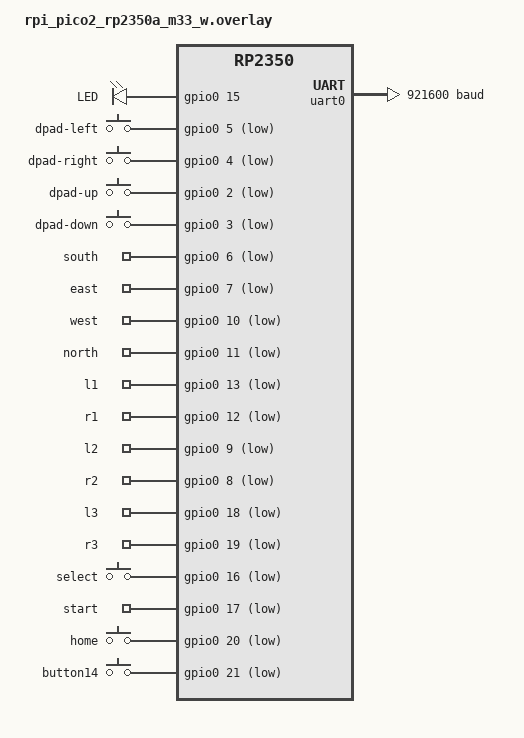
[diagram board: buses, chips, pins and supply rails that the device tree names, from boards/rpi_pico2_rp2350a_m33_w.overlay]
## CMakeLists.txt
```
cmake_minimum_required(VERSION 3.20.0)

set(EXTRA_DTC_OVERLAY_FILE
    ${CMAKE_CURRENT_SOURCE_DIR}/hid_dev.overlay
)

find_package(Zephyr REQUIRED HINTS $ENV{ZEPHYR_BASE})
project(ps5_remote_play_controller)

target_compile_definitions(app PRIVATE
    CHIAKI_LIB_ENABLE_MBEDTLS
    __ZEPHYR__
)

target_include_directories(app PRIVATE
    src
    ${CMAKE_CURRENT_SOURCE_DIR}/../chiaki-ng/lib/include
    ${CMAKE_CURRENT_SOURCE_DIR}/../chiaki-ng/lib/src
)

target_sources(app PRIVATE
    src/main.c
    src/wifi_manager.c
    src/settings.c
    src/registration.c
    src/session.c
    src/status.c
    src/led_status.c
    src/buttons.c
    src/chiaki_log.c

    ${CMAKE_CURRENT_SOURCE_DIR}/../chiaki-ng/lib/src/regist.c
    ${CMAKE_CURRENT_SOURCE_DIR}/../chiaki-ng/lib/src/rpcrypt.c
    ${CMAKE_CURRENT_SOURCE_DIR}/../chiaki-ng/lib/src/http.c
    ${CMAKE_CURRENT_SOURCE_DIR}/../chiaki-ng/lib/src/base64.c
    ${CMAKE_CURRENT_SOURCE_DIR}/../chiaki-ng/lib/src/common.c
    ${CMAKE_CURRENT_SOURCE_DIR}/../chiaki-ng/lib/src/log.c
    ${CMAKE_CURRENT_SOURCE_DIR}/../chiaki-ng/lib/src/random.c
    ${CMAKE_CURRENT_SOURCE_DIR}/../chiaki-ng/lib/src/stoppipe.c
    ${CMAKE_CURRENT_SOURCE_DIR}/../chiaki-ng/lib/src/sock.c
    ${CMAKE_CURRENT_SOURCE_DIR}/../chiaki-ng/lib/src/time.c
    ${CMAKE_CURRENT_SOURCE_DIR}/../chiaki-ng/lib/src/thread.c
    ${CMAKE_CURRENT_SOURCE_DIR}/../chiaki-ng/lib/src/remote/rudp.c
    ${CMAKE_CURRENT_SOURCE_DIR}/../chiaki-ng/lib/src/remote/rudpsendbuffer.c
    ${CMAKE_CURRENT_SOURCE_DIR}/../chiaki-ng/lib/src/session.c
    ${CMAKE_CURRENT_SOURCE_DIR}/../chiaki-ng/lib/src/ecdh.c
    ${CMAKE_CURRENT_SOURCE_DIR}/../chiaki-ng/lib/src/gkcrypt.c
    ${CMAKE_CURRENT_SOURCE_DIR}/../chiaki-ng/lib/src/ctrl.c
    ${CMAKE_CURRENT_SOURCE_DIR}/../chiaki-ng/lib/src/takion.c
    ${CMAKE_CURRENT_SOURCE_DIR}/../chiaki-ng/lib/src/takionsendbuffer.c
    ${CMAKE_CURRENT_SOURCE_DIR}/../chiaki-ng/lib/src/streamconnection.c
    ${CMAKE_CURRENT_SOURCE_DIR}/../chiaki-ng/lib/src/controller.c
    ${CMAKE_CURRENT_SOURCE_DIR}/../chiaki-ng/lib/src/senkusha.c
    ${CMAKE_CURRENT_SOURCE_DIR}/../chiaki-ng/lib/src/congestioncontrol.c
    ${CMAKE_CURRENT_SOURCE_DIR}/../chiaki-ng/lib/src/reorderqueue.c
    ${CMAKE_CURRENT_SOURCE_DIR}/../chiaki-ng/lib/src/launchspec.c
    ${CMAKE_CURRENT_SOURCE_DIR}/../chiaki-ng/lib/src/packetstats.c
    ${CMAKE_CURRENT_SOURCE_DIR}/../chiaki-ng/lib/src/feedbacksender.c
    ${CMAKE_CURRENT_SOURCE_DIR}/../chiaki-ng/lib/src/audio.c
    ${CMAKE_CURRENT_SOURCE_DIR}/../chiaki-ng/lib/src/audioreceiver.c
    ${CMAKE_CURRENT_SOURCE_DIR}/../chiaki-ng/lib/src/audiosender.c
    ${CMAKE_CURRENT_SOURCE_DIR}/../chiaki-ng/lib/src/bitstream.c
    ${CMAKE_CURRENT_SOURCE_DIR}/../chiaki-ng/lib/src/feedback.c
    ${CMAKE_CURRENT_SOURCE_DIR}/../chiaki-ng/lib/src/orientation.c
    ${CMAKE_CURRENT_SOURCE_DIR}/../chiaki-ng/lib/src/videoreceiver.c
    ${CMAKE_CURRENT_SOURCE_DIR}/../chiaki-ng/lib/src/frameprocessor.c
)

zephyr_ld_options(-Wl,--allow-multiple-definition)

include(${ZEPHYR_BASE}/modules/nanopb/nanopb.cmake)
zephyr_nanopb_sources(app ${CMAKE_CURRENT_SOURCE_DIR}/../chiaki-ng/lib/protobuf/takion.proto)
```

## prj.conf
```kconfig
# Network & Wi-Fi configuration
CONFIG_NETWORKING=y
CONFIG_NET_IPV4=y
CONFIG_NET_DHCPV4=y
CONFIG_NET_MGMT_EVENT_INFO=y
CONFIG_NET_TCP=y
CONFIG_NET_UDP=y
CONFIG_NET_SOCKETS=y
CONFIG_NET_SOCKETPAIR=y
CONFIG_POSIX_API=y
CONFIG_NET_MAX_CONN=10
CONFIG_NET_MAX_CONTEXTS=10

CONFIG_WIFI=y

# Zephyr Settings & NVS Flash Storage subsystem
CONFIG_FLASH=y
CONFIG_FLASH_MAP=y
CONFIG_NVS=y
CONFIG_SETTINGS=y
CONFIG_SETTINGS_NVS=y

# System resources & stack sizes
CONFIG_MAIN_STACK_SIZE=16384
CONFIG_NET_RX_STACK_SIZE=8192
CONFIG_NET_TX_STACK_SIZE=8192
CONFIG_SYSTEM_WORKQUEUE_STACK_SIZE=8192
CONFIG_HEAP_MEM_POOL_SIZE=143360
CONFIG_USBD_THREAD_STACK_SIZE=2048

# Dynamic Thread & POSIX Stack Configuration
CONFIG_DYNAMIC_THREAD_STACK_SIZE=12288
CONFIG_THREAD_STACK_INFO=y
CONFIG_STACK_SENTINEL=y
CONFIG_THREAD_NAME=y
CONFIG_DYNAMIC_THREAD=y
CONFIG_DYNAMIC_THREAD_ALLOC=y
CONFIG_POSIX_THREAD_THREADS_MAX=16
CONFIG_MAX_PTHREAD_MUTEX_COUNT=64
CONFIG_MAX_PTHREAD_COND_COUNT=64

# MbedTLS
CONFIG_MBEDTLS=y
CONFIG_MBEDTLS_BUILTIN=y
CONFIG_MBEDTLS_PSA_CRYPTO_C=y

# PSA Crypto Algorithms & Key Types
CONFIG_PSA_CRYPTO=y
CONFIG_PSA_WANT_ALG_HMAC=y
CONFIG_PSA_WANT_ALG_SHA_256=y
CONFIG_PSA_WANT_ALG_CTR=y
CONFIG_PSA_WANT_ALG_CFB=y
CONFIG_PSA_WANT_ALG_ECB_NO_PADDING=y
CONFIG_PSA_WANT_ALG_CBC_NO_PADDING=y
CONFIG_PSA_WANT_ALG_GCM=y
CONFIG_PSA_WANT_ALG_ECDH=y
CONFIG_PSA_WANT_KEY_TYPE_AES=y
CONFIG_PSA_WANT_KEY_TYPE_ECC_KEY_PAIR_GENERATE=y
CONFIG_PSA_WANT_ECC_SECP_K1_256=y

# Logging
CONFIG_SERIAL=n
CONFIG_UART_CONSOLE=n
CONFIG_LOG=n
CONFIG_NET_LOG=y

CONFIG_NANOPB=y
CONFIG_BASE64=y

CONFIG_USB_DEVICE_STACK_NEXT=y
CONFIG_USBD_HID_SUPPORT=y

CONFIG_CRC=y
```

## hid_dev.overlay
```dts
/ {
    hid_dev_0: hid_dev_0 {
        compatible = "zephyr,hid-device";
        in-report-size = <64>;
        out-report-size = <64>;
        in-polling-period-us = <1000>;
        out-polling-period-us = <1000>;
    };
};
```

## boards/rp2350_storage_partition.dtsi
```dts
/ {
    chosen {
        zephyr,code-partition = &code_partition;
    };
};

&flash0 {
    partitions {
        compatible = "fixed-partitions";
        #address-cells = <0x1>;
        #size-cells = <0x1>;

        code_partition: partition@0 {
            label = "code";
            reg = <0x0 (DT_SIZE_M(1) - DT_SIZE_K(32) - 4096)>;
            read-only;
        };

        storage_partition: partition@f7000 {
            label = "storage";
            reg = <(DT_SIZE_M(1) - DT_SIZE_K(32) - 4096) DT_SIZE_K(32)>;
        };
    };
};
```

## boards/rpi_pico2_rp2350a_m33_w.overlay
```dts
#include "rp2350_storage_partition.dtsi"

&uart0 {
    current-speed = <921600>;
};

/ {
    leds {
        compatible = "gpio-leds";

        led0: led_0 {
            gpios = <&gpio0 15 GPIO_ACTIVE_HIGH>;
            label = "LED";
        };
    };

    aliases {
        led0 = &led0;
    };

    gamepad-buttons {
        compatible = "gpio-keys";
        dpad-left { gpios = <&gpio0 5 (GPIO_PULL_UP | GPIO_ACTIVE_LOW)>; };
        dpad-right { gpios = <&gpio0 4 (GPIO_PULL_UP | GPIO_ACTIVE_LOW)>; };
        dpad-up { gpios = <&gpio0 2 (GPIO_PULL_UP | GPIO_ACTIVE_LOW)>; };
        dpad-down { gpios = <&gpio0 3 (GPIO_PULL_UP | GPIO_ACTIVE_LOW)>; };
        south { gpios = <&gpio0 6 (GPIO_PULL_UP | GPIO_ACTIVE_LOW)>; };
        east { gpios = <&gpio0 7 (GPIO_PULL_UP | GPIO_ACTIVE_LOW)>; };
        west { gpios = <&gpio0 10 (GPIO_PULL_UP | GPIO_ACTIVE_LOW)>; };
        north { gpios = <&gpio0 11 (GPIO_PULL_UP | GPIO_ACTIVE_LOW)>; };
        l1 { gpios = <&gpio0 13 (GPIO_PULL_UP | GPIO_ACTIVE_LOW)>; };
        r1 { gpios = <&gpio0 12 (GPIO_PULL_UP | GPIO_ACTIVE_LOW)>; };
        l2 { gpios = <&gpio0 9 (GPIO_PULL_UP | GPIO_ACTIVE_LOW)>; };
        r2 { gpios = <&gpio0 8 (GPIO_PULL_UP | GPIO_ACTIVE_LOW)>; };
        l3 { gpios = <&gpio0 18 (GPIO_PULL_UP | GPIO_ACTIVE_LOW)>; };
        r3 { gpios = <&gpio0 19 (GPIO_PULL_UP | GPIO_ACTIVE_LOW)>; };
        select { gpios = <&gpio0 16 (GPIO_PULL_UP | GPIO_ACTIVE_LOW)>; };
        start { gpios = <&gpio0 17 (GPIO_PULL_UP | GPIO_ACTIVE_LOW)>; };
        home { gpios = <&gpio0 20 (GPIO_PULL_UP | GPIO_ACTIVE_LOW)>; };
        button14 { gpios = <&gpio0 21 (GPIO_PULL_UP | GPIO_ACTIVE_LOW)>; };
    };
};
```

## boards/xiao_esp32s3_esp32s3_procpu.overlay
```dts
/ {
    chosen {
        zephyr,console = &uart0;
        zephyr,shell-uart = &uart0;
    };
};

zephyr_udc0: &usb_otg {
    status = "okay";
};

&usb_serial {
    status = "disabled";
};

&uart0 {
    current-speed = <921600>;
};

/ {
    gamepad-buttons {
        compatible = "gpio-keys";
        start { gpios = <&xiao_d 0 (GPIO_PULL_UP | GPIO_ACTIVE_LOW)>; };
        select { gpios = <&xiao_d 1 (GPIO_PULL_UP | GPIO_ACTIVE_LOW)>; };
        home { gpios = <&xiao_d 2 (GPIO_PULL_UP | GPIO_ACTIVE_LOW)>; };
        south { gpios = <&xiao_d 3 (GPIO_PULL_UP | GPIO_ACTIVE_LOW)>; };
        east { gpios = <&xiao_d 4 (GPIO_PULL_UP | GPIO_ACTIVE_LOW)>; };
        west { gpios = <&xiao_d 5 (GPIO_PULL_UP | GPIO_ACTIVE_LOW)>; };
        north { gpios = <&xiao_d 6 (GPIO_PULL_UP | GPIO_ACTIVE_LOW)>; };
        dpad-left { gpios = <&xiao_d 7 (GPIO_PULL_UP | GPIO_ACTIVE_LOW)>; };
        dpad-right { gpios = <&xiao_d 8 (GPIO_PULL_UP | GPIO_ACTIVE_LOW)>; };
        dpad-up { gpios = <&xiao_d 9 (GPIO_PULL_UP | GPIO_ACTIVE_LOW)>; };
        dpad-down { gpios = <&xiao_d 10 (GPIO_PULL_UP | GPIO_ACTIVE_LOW)>; };
    };
};
```

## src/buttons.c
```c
// Copyright (c) 2026 Jacek Fedorynski
// SPDX-License-Identifier: MIT

#include "buttons.h"

#include <zephyr/drivers/gpio.h>
#include <zephyr/logging/log.h>

LOG_MODULE_REGISTER(buttons, LOG_LEVEL_INF);

#define BUTTON_POLL_INTERVAL_MS 4

/* ---------------------------------------------------------------------------
 * Button GPIO setup, ported from portable-gamepad-firmware's main.c:
 *   - Every child of the "gamepad-buttons" devicetree node becomes one
 *     enum button_idx value and one struct gpio_dt_spec.
 *   - Buttons sharing a physical GPIO port are deduplicated so that port is
 *     only read once per poll (read_all_gpio_ports()) instead of once per
 *     pin; BUTTON_GET(name) then just pulls the bit for that pin out of the
 *     cached port-wide reading.
 *   - BUTTON_GET(name) compiles down to a constant `(0)` -- "never
 *     pressed" -- if "name" isn't a child of gamepad-buttons on the current
 *     board, so boards don't all need to define the same set of buttons.
 * -------------------------------------------------------------------------*/

#define BUTTON(name) UTIL_CAT(button_, name)

#define BUTTON_FOR_ID(node_id) BUTTON(DT_NODE_FULL_NAME_TOKEN(node_id))

enum button_idx {
    DT_FOREACH_CHILD_SEP(DT_PATH(gamepad_buttons), BUTTON_FOR_ID, (, )),
    NUM_BUTTONS
};

#define BUTTON_GPIO_DEF(node_id) GPIO_DT_SPEC_GET(node_id, gpios),

static struct gpio_dt_spec buttons[] = {
    DT_FOREACH_CHILD(DT_PATH(gamepad_buttons), BUTTON_GPIO_DEF)
};

static gpio_port_value_t* button_port_states[NUM_BUTTONS];

#define _COUNT_GPIO_CONTROLLER(node_id) IF_ENABLED(DT_NODE_HAS_PROP(node_id, gpio_controller), (+1))
#define NUM_GPIO_PORTS (0 DT_FOREACH_STATUS_OKAY_NODE(_COUNT_GPIO_CONTROLLER))

static const struct device* gpio_ports[NUM_GPIO_PORTS];
static gpio_port_value_t gpio_port_states[NUM_GPIO_PORTS];

static int s_active_gpio_ports = 0;

#define BUTTON_GET(name)                                                                                        \
    COND_CODE_1(DT_NODE_EXISTS(DT_PATH(gamepad_buttons, name)),                                                 \
        ((0 != (*button_port_states[BUTTON(name)] & BIT(DT_GPIO_PIN(DT_PATH(gamepad_buttons, name), gpios))))), \
        (0))

static void read_all_gpio_ports(void) {
    for (int i = 0; i < s_active_gpio_ports; i++) {
        gpio_port_get(gpio_ports[i], &gpio_port_states[i]);
    }
}

/* ---------------------------------------------------------------------------
 * Mapping onto ChiakiControllerState. south/east/west/north -> cross/moon
 * (circle)/box (square)/pyramid (triangle) matches chiaki-ng's own Xbox-
 * layout convention (a/b/x/y), e.g. controllermanager.cpp and
 * qmlbackend.cpp. l2/r2 are digital buttons here (no ADC), reported as
 * fully-pressed (255) or released (0) analog trigger state, same as other
 * digital-only controllers chiaki-ng talks to. button14 has no obvious PS5
 * equivalent, so it's mapped to the one otherwise-unused DualSense button,
 * the touchpad click.
 * -------------------------------------------------------------------------*/

static void buttons_apply(ChiakiControllerState* state) {
    read_all_gpio_ports();

    uint32_t b = 0;
    if (BUTTON_GET(south))
        b |= CHIAKI_CONTROLLER_BUTTON_CROSS;
    if (BUTTON_GET(east))
        b |= CHIAKI_CONTROLLER_BUTTON_MOON;
    if (BUTTON_GET(west))
        b |= CHIAKI_CONTROLLER_BUTTON_BOX;
    if (BUTTON_GET(north))
        b |= CHIAKI_CONTROLLER_BUTTON_PYRAMID;
    if (BUTTON_GET(dpad_left))
        b |= CHIAKI_CONTROLLER_BUTTON_DPAD_LEFT;
    if (BUTTON_GET(dpad_right))
        b |= CHIAKI_CONTROLLER_BUTTON_DPAD_RIGHT;
    if (BUTTON_GET(dpad_up))
        b |= CHIAKI_CONTROLLER_BUTTON_DPAD_UP;
    if (BUTTON_GET(dpad_down))
        b |= CHIAKI_CONTROLLER_BUTTON_DPAD_DOWN;
    if (BUTTON_GET(l1))
        b |= CHIAKI_CONTROLLER_BUTTON_L1;
    if (BUTTON_GET(r1))
        b |= CHIAKI_CONTROLLER_BUTTON_R1;
    if (BUTTON_GET(l3))
        b |= CHIAKI_CONTROLLER_BUTTON_L3;
    if (BUTTON_GET(r3))
        b |= CHIAKI_CONTROLLER_BUTTON_R3;
    if (BUTTON_GET(start))
        b |= CHIAKI_CONTROLLER_BUTTON_OPTIONS;
    if (BUTTON_GET(select))
        b |= CHIAKI_CONTROLLER_BUTTON_SHARE;
    if (BUTTON_GET(home))
        b |= CHIAKI_CONTROLLER_BUTTON_PS;
    if (BUTTON_GET(button14))
        b |= CHIAKI_CONTROLLER_BUTTON_TOUCHPAD;

    uint8_t l2 = BUTTON_GET(l2) ? 255 : 0;
    uint8_t r2 = BUTTON_GET(r2) ? 255 : 0;

    state->buttons = b;
    state->l2_state = l2;
    state->r2_state = r2;
}

/* ---------------------------------------------------------------------------
 * Polling thread
 * -------------------------------------------------------------------------*/

static ChiakiControllerState* s_state;
static struct k_sem* s_input_sem;

static void buttons_thread_fn(void* p1, void* p2, void* p3) {
    ARG_UNUSED(p1);
    ARG_UNUSED(p2);
    ARG_UNUSED(p3);

    while (1) {
        k_sleep(K_MSEC(BUTTON_POLL_INTERVAL_MS));

        if (s_state == NULL) {
            continue;
        }

        uint32_t prev_buttons = s_state->buttons;
        uint8_t prev_l2 = s_state->l2_state;
        uint8_t prev_r2 = s_state->r2_state;

        buttons_apply(s_state);

        if (s_state->buttons != prev_buttons ||
            s_state->l2_state != prev_l2 ||
            s_state->r2_state != prev_r2) {
            k_sem_give(s_input_sem);
        }
    }
}

K_THREAD_DEFINE(buttons_thread, 512, buttons_thread_fn, NULL, NULL, NULL, 7, 0, 0);

void buttons_init(ChiakiControllerState* state, struct k_sem* input_sem) {
    for (int i = 0; i < NUM_BUTTONS; i++) {
        if (!gpio_is_ready_dt(&buttons[i])) {
            LOG_ERR("Button %d GPIO not ready", i);
            continue;
        }

        int ret = gpio_pin_configure_dt(&buttons[i], GPIO_INPUT | GPIO_PULL_UP | GPIO_ACTIVE_LOW);
        if (ret != 0) {
            LOG_ERR("Failed to configure button %d: %d", i, ret);
        }

        int port_idx = -1;
        for (int j = 0; j < s_active_gpio_ports; j++) {
            if (gpio_ports[j] == buttons[i].port) {
                port_idx = j;
                break;
            }
        }

        if (port_idx == -1) {
            port_idx = s_active_gpio_ports;
            gpio_ports[port_idx] = buttons[i].port;
            s_active_gpio_ports++;
        }

        button_port_states[i] = &gpio_port_states[port_idx];
    }

    LOG_INF("%d button(s) across %d GPIO port(s)", NUM_BUTTONS, s_active_gpio_ports);

    s_state = state;
    s_input_sem = input_sem;
}
```

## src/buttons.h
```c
// Copyright (c) 2026 Jacek Fedorynski
// SPDX-License-Identifier: MIT

#ifndef BUTTONS_H
#define BUTTONS_H

#include <chiaki/controller.h>
#include <zephyr/kernel.h>

#ifdef __cplusplus
extern "C" {
#endif

/**
 * Configure all GPIOs declared under the "gamepad-buttons" devicetree node
 * and start polling them.
 *
 * Whenever the polled button state differs from *state, updates its
 * `buttons`/`l2_state`/`r2_state` fields and gives input_sem -- matching the
 * "written by GPIO code" / "given by GPIO code" contract documented next to
 * g_controller_state / g_input_sem in main.c.
 *
 * Any button name (south/east/west/north/dpad-left/dpad-right/dpad-up/
 * dpad-down/l1/r1/l2/r2/l3/r3/select/start/home/button14) that isn't
 * present under gamepad-buttons on a given board is simply always "not
 * pressed" -- boards don't all need to define the same set of buttons.
 */
void buttons_init(ChiakiControllerState* state, struct k_sem* input_sem);

#ifdef __cplusplus
}
#endif

#endif  // BUTTONS_H
```

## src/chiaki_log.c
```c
// Copyright (c) 2026 Jacek Fedorynski
// SPDX-License-Identifier: MIT

#include "chiaki_log.h"
#include "status.h"

#include <zephyr/logging/log.h>

#include <stdbool.h>
#include <stdint.h>

LOG_MODULE_REGISTER(chiaki, LOG_LEVEL_DBG);

void chiaki_log_zephyr_cb(ChiakiLogLevel level, const char* msg, void* user) {
    bool verbose_as_info = (bool) (intptr_t) user;
    switch (level) {
        case CHIAKI_LOG_ERROR:
            LOG_ERR("[Chiaki] %s", msg);
            /* Also visible on the config website regardless of whether
             * Zephyr logging is compiled in -- chiaki-ng's own internal
             * errors (e.g. "Ctrl init failed") otherwise only ever go
             * through LOG_ERR. */
            status_logf("[Chiaki] %s", msg);
            break;
        case CHIAKI_LOG_WARNING:
            LOG_WRN("[Chiaki] %s", msg);
            break;
        case CHIAKI_LOG_INFO:
            LOG_INF("[Chiaki] %s", msg);
            break;
        default:
            if (verbose_as_info) {
                LOG_INF("[Chiaki Verbose] %s", msg);
            } else {
                LOG_DBG("[Chiaki] %s", msg);
            }
            break;
    }
}
```

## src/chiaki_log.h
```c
// Copyright (c) 2026 Jacek Fedorynski
// SPDX-License-Identifier: MIT

#ifndef CHIAKI_LOG_ZEPHYR_H
#define CHIAKI_LOG_ZEPHYR_H

#include <chiaki/log.h>

#ifdef __cplusplus
extern "C" {
#endif

/**
 * ChiakiLog callback that routes ERROR/WARNING/INFO to the corresponding
 * Zephyr log level. CHIAKI_LOG_VERBOSE/CHIAKI_LOG_DEBUG go to LOG_INF
 * (tagged "[Chiaki Verbose]") if the ChiakiLog user cookie is (void*)true,
 * or LOG_DBG (tagged "[Chiaki]") if it's (void*)false -- pass whichever
 * suits the call site's verbosity needs to chiaki_log_init().
 */
void chiaki_log_zephyr_cb(ChiakiLogLevel level, const char* msg, void* user);

#ifdef __cplusplus
}
#endif

#endif  // CHIAKI_LOG_ZEPHYR_H
```

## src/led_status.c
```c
// Copyright (c) 2026 Jacek Fedorynski
// SPDX-License-Identifier: MIT

#include "led_status.h"

#include <zephyr/drivers/gpio.h>
#include <zephyr/kernel.h>
#include <zephyr/logging/log.h>

#include "session.h"
#include "wifi_manager.h"

LOG_MODULE_REGISTER(led_status, LOG_LEVEL_INF);

enum led_pattern {
    LED_PATTERN_NO_WIFI,
    LED_PATTERN_WIFI_ONLY,
    LED_PATTERN_PS5_CONNECTED,
};

struct blink_timing {
    uint32_t on_ms;
    uint32_t off_ms;
};

static const struct blink_timing k_patterns[] = {
    [LED_PATTERN_NO_WIFI] = { .on_ms = 100, .off_ms = 100 },
    [LED_PATTERN_WIFI_ONLY] = { .on_ms = 1800, .off_ms = 200 },
    [LED_PATTERN_PS5_CONNECTED] = { .on_ms = 100, .off_ms = 1900 },
};

static const struct gpio_dt_spec led = GPIO_DT_SPEC_GET(DT_ALIAS(led0), gpios);

static atomic_t s_pattern = ATOMIC_INIT(LED_PATTERN_NO_WIFI);

void led_status_refresh(void) {
    enum led_pattern pattern;

    if (!wifi_manager_is_connected()) {
        pattern = LED_PATTERN_NO_WIFI;
    } else if (!session_is_connected()) {
        pattern = LED_PATTERN_WIFI_ONLY;
    } else {
        pattern = LED_PATTERN_PS5_CONNECTED;
    }

    atomic_set(&s_pattern, pattern);
}

static void led_thread_fn(void* p1, void* p2, void* p3) {
    ARG_UNUSED(p1);
    ARG_UNUSED(p2);
    ARG_UNUSED(p3);

    for (int attempts = 0; !gpio_is_ready_dt(&led); attempts++) {
        if (attempts >= 10) {
            LOG_ERR("Status LED device never became ready");
            return;
        }
        k_sleep(K_MSEC(10));
    }

    if (gpio_pin_configure_dt(&led, GPIO_OUTPUT_INACTIVE) != 0) {
        LOG_ERR("Failed to configure status LED");
        return;
    }

    while (1) {
        const struct blink_timing* t = &k_patterns[atomic_get(&s_pattern)];

        gpio_pin_set_dt(&led, 1);
        k_sleep(K_MSEC(t->on_ms));
        gpio_pin_set_dt(&led, 0);
        k_sleep(K_MSEC(t->off_ms));
    }
}

K_THREAD_DEFINE(led_status_thread, 512, led_thread_fn, NULL, NULL, NULL, 7, 0, 0);
```

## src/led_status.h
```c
// Copyright (c) 2026 Jacek Fedorynski
// SPDX-License-Identifier: MIT

#ifndef LED_STATUS_H
#define LED_STATUS_H

#ifdef __cplusplus
extern "C" {
#endif

/**
 * Re-derive the "led0" blink pattern from current Wi-Fi / PS5 session state
 * and apply it:
 *   - not connected to Wi-Fi:              100ms on / 100ms off
 *   - connected to Wi-Fi, no PS5 session:  1800ms on / 200ms off
 *   - PS5 session active:                  100ms on / 1900ms off
 *
 * Cheap enough to call after every state-machine transition; a dedicated
 * thread does the actual blinking, so this just tells it what pattern to
 * use next.
 */
void led_status_refresh(void);

#ifdef __cplusplus
}
#endif

#endif  // LED_STATUS_H
```

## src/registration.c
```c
// Copyright (c) 2026 Jacek Fedorynski
// SPDX-License-Identifier: MIT

#include "registration.h"
#include "chiaki_log.h"
#include "settings.h"

#include <chiaki/common.h>
#include <chiaki/log.h>
#include <chiaki/regist.h>
#include <zephyr/kernel.h>
#include <zephyr/logging/log.h>

#include <stdint.h>
#include <stdlib.h>
#include <string.h>

LOG_MODULE_REGISTER(registration, LOG_LEVEL_DBG);

static K_SEM_DEFINE(s_regist_sem, 0, 1);
static ChiakiRegistEventType s_regist_event_type;
static ChiakiRegisteredHost s_registered_host;

static void regist_callback(ChiakiRegistEvent* event, void* user) {
    (void) user;
    s_regist_event_type = event->type;
    if (event->type == CHIAKI_REGIST_EVENT_TYPE_FINISHED_SUCCESS && event->registered_host) {
        memcpy(&s_registered_host, event->registered_host, sizeof(ChiakiRegisteredHost));
    }
    k_sem_give(&s_regist_sem);
}

int registration_run(uint32_t pin) {
    const AppConfig* cfg = settings_get_config();

    if (cfg->wifi_ssid[0] == '\0') {
        LOG_ERR("No Wi-Fi network configured! Please configure Wi-Fi via WebHID before linking.");
        return -EINVAL;
    }

    if (cfg->ps5_ip_str[0] == '\0') {
        LOG_ERR("No PS5 IP address configured! Please configure PS5 IP address via WebHID before linking.");
        return -EINVAL;
    }

    if (!settings_has_account_id()) {
        LOG_ERR("No PSN Account ID configured! Please configure PSN Account ID via WebHID before linking.");
        return -EINVAL;
    }

    if (pin == 0) {
        LOG_ERR("Invalid Registration PIN (0). Please enter a valid 8-digit PIN shown on PS5 screen.");
        return -EINVAL;
    }

    LOG_INF("=================================================");
    LOG_INF("Starting PS5 Registration Procedure");
    LOG_INF("Target Console IP : %s", cfg->ps5_ip_str);
    LOG_HEXDUMP_INF(cfg->account_id, sizeof(cfg->account_id), "PSN Account ID (8 raw bytes):");
    LOG_INF("Registration PIN  : %u", pin);
    LOG_INF("=================================================");

    uint8_t psn_account_id[CHIAKI_PSN_ACCOUNT_ID_SIZE];
    settings_get_account_id_reversed(psn_account_id);

    LOG_HEXDUMP_INF(psn_account_id, sizeof(psn_account_id), "Chiaki 8-Byte PSN Account ID:");

    ChiakiLog log;
    chiaki_log_init(&log, CHIAKI_LOG_ALL, chiaki_log_zephyr_cb, (void*) (intptr_t) true);

    ChiakiRegistInfo info;
    memset(&info, 0, sizeof(info));
    info.target = CHIAKI_TARGET_PS5_1;
    info.host = cfg->ps5_ip_str;
    info.broadcast = false;
    memcpy(info.psn_account_id, psn_account_id, sizeof(psn_account_id));
    info.pin = pin;

    ChiakiRegist regist;
    memset(&regist, 0, sizeof(regist));

    LOG_INF("Initiating Chiaki registration sequence...");
    ChiakiErrorCode err = chiaki_regist_start(&regist, &log, &info, regist_callback, NULL);
    if (err != CHIAKI_ERR_SUCCESS) {
        LOG_ERR("chiaki_regist_start failed with error: %s (%d)",
            chiaki_error_string(err), err);
        return -EIO;
    }

    LOG_INF("Waiting for registration process to complete...");
    k_sem_take(&s_regist_sem, K_FOREVER);

    chiaki_regist_fini(&regist);

    if (s_regist_event_type != CHIAKI_REGIST_EVENT_TYPE_FINISHED_SUCCESS) {
        LOG_ERR("PS5 Registration failed or was canceled! Result event type: %d", s_regist_event_type);
        return -EIO;
    }

    LOG_INF("-------------------------------------------------");
    LOG_INF("PS5 REGISTRATION SUCCESSFUL!");
    LOG_INF("Server Nickname: %s", s_registered_host.server_nickname);
    LOG_HEXDUMP_INF(s_registered_host.server_mac, sizeof(s_registered_host.server_mac), "PS5 MAC Address:");
    LOG_HEXDUMP_INF(s_registered_host.rp_regist_key, sizeof(s_registered_host.rp_regist_key), "Registration Key (rp_regist_key):");
    LOG_HEXDUMP_INF(s_registered_host.rp_key, sizeof(s_registered_host.rp_key), "RP Key:");
    LOG_INF("-------------------------------------------------");

    int save_err = settings_save_registration(&s_registered_host);
    if (save_err != 0) {
        LOG_ERR("Failed to persist registration key to settings flash storage!");
        return save_err;
    }

    LOG_INF("Registration key persisted to flash NVS successfully.");
    return 0;
}
```

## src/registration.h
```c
// Copyright (c) 2026 Jacek Fedorynski
// SPDX-License-Identifier: MIT

#ifndef REGISTRATION_H
#define REGISTRATION_H

#include <stdbool.h>
#include <stdint.h>

#ifdef __cplusplus
extern "C" {
#endif

/**
 * Execute the PS5 registration procedure over the local network using the provided PIN.
 *
 * @param pin 8-digit registration PIN shown on the PS5 screen
 * @return 0 on success, negative error code on failure.
 */
int registration_run(uint32_t pin);

#ifdef __cplusplus
}
#endif

#endif  // REGISTRATION_H
```

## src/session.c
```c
// Copyright (c) 2026 Jacek Fedorynski
// SPDX-License-Identifier: MIT

#include "session.h"
#include "chiaki_log.h"
#include "settings.h"
#include "status.h"

#include <chiaki/common.h>
#include <chiaki/log.h>
#include <chiaki/session.h>
#include <zephyr/kernel.h>
#include <zephyr/logging/log.h>

#include <stdint.h>
#include <string.h>

LOG_MODULE_REGISTER(session, LOG_LEVEL_DBG);

/* Given by session_event_cb on both CONNECTED and QUIT so the main loop can
 * react without polling.  The count is capped at 1; if the main loop misses
 * an event it will catch up on the next iteration. */
K_SEM_DEFINE(session_event_sem, 0, 1);

static bool s_connected = false;
static ChiakiSession s_session;
static ChiakiLog s_log;

static void session_event_cb(ChiakiEvent* event, void* user) {
    (void) user;
    switch (event->type) {
        case CHIAKI_EVENT_CONNECTED:
            LOG_INF("=================================================");
            LOG_INF("   PS5 SESSION CONNECTED SUCCESSFULLY!          ");
            LOG_INF("=================================================");
            s_connected = true;
            k_sem_give(&session_event_sem);
            break;
        case CHIAKI_EVENT_QUIT:
            LOG_WRN("PS5 session QUIT. reason=%d%s%s",
                event->quit.reason,
                event->quit.reason_str ? ": " : "",
                event->quit.reason_str ? event->quit.reason_str : "");
            s_connected = false;
            k_sem_give(&session_event_sem);
            break;
        default:
            LOG_DBG("Session event type=%d", event->type);
            break;
    }
}

int session_init(void) {
    const AppConfig* cfg = settings_get_config();

    if (cfg->ps5_ip_str[0] == '\0') {
        LOG_ERR("No PS5 IP address configured.");
        return -EINVAL;
    }
    if (!settings_has_account_id()) {
        LOG_ERR("No PSN Account ID configured.");
        return -EINVAL;
    }
    if (!settings_has_registration()) {
        LOG_ERR("No saved registration found in flash.");
        return -EINVAL;
    }

    const ChiakiRegisteredHost* reg_host = settings_get_registered_host();

    ChiakiConnectInfo ci;
    memset(&ci, 0, sizeof(ci));
    ci.ps5 = true;
    ci.host = cfg->ps5_ip_str;
    memcpy(ci.regist_key, reg_host->rp_regist_key, sizeof(ci.regist_key));
    memcpy(ci.morning, reg_host->rp_key, sizeof(ci.morning));
    settings_get_account_id_reversed(ci.psn_account_id);
    ci.audio_video_disabled = CHIAKI_AUDIO_VIDEO_DISABLED;
    ci.enable_keyboard = false;
    ci.enable_dualsense = true;
    ci.auto_regist = false;
    chiaki_connect_video_profile_preset(&ci.video_profile,
        CHIAKI_VIDEO_RESOLUTION_PRESET_720p,
        CHIAKI_VIDEO_FPS_PRESET_60);

    chiaki_log_init(&s_log, CHIAKI_LOG_ALL, chiaki_log_zephyr_cb, (void*) (intptr_t) false);

    memset(&s_session, 0, sizeof(s_session));
    s_connected = false;
    /* Reset so a stale signal from a previous session is discarded */
    k_sem_reset(&session_event_sem);

    LOG_INF("Initialising Chiaki session (target: %s)...", cfg->ps5_ip_str);
    ChiakiErrorCode err = chiaki_session_init(&s_session, &ci, &s_log);
    if (err != CHIAKI_ERR_SUCCESS) {
        status_logf("chiaki_session_init failed: %s (%d)", chiaki_error_string(err), err);
        return -EIO;
    }

    chiaki_session_set_event_cb(&s_session, session_event_cb, NULL);

    err = chiaki_session_start(&s_session);
    if (err != CHIAKI_ERR_SUCCESS) {
        status_logf("chiaki_session_start failed: %s (%d)", chiaki_error_string(err), err);
        chiaki_session_fini(&s_session);
        return -EIO;
    }

    LOG_INF("Chiaki session started; waiting for CONNECTED event...");
    return 0;
}

void session_fini(void) {
    LOG_INF("Stopping Chiaki session...");
    s_connected = false;
    chiaki_session_stop(&s_session);
    chiaki_session_join(&s_session);
    chiaki_session_fini(&s_session);
    LOG_INF("Chiaki session stopped.");
}

bool session_is_connected(void) {
    return s_connected;
}

void session_send_controller_state(const ChiakiControllerState* state) {
    if (s_connected) {
        chiaki_session_set_controller_state(&s_session, state);
    }
}
```

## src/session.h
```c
// Copyright (c) 2026 Jacek Fedorynski
// SPDX-License-Identifier: MIT

#ifndef SESSION_H
#define SESSION_H

#include <chiaki/controller.h>
#include <zephyr/kernel.h>

/**
 * @brief Start the PS5 remote play session.
 *
 * Non-blocking: initialises the Chiaki session and starts its internal
 * threads, then returns immediately.  The caller must poll
 * session_event_sem and call session_is_connected() to learn when
 * the connection is established or lost.
 *
 * @return 0 on success, negative errno on failure.
 */
int session_init(void);

/**
 * @brief Stop and tear down the current session.
 *
 * Signals Chiaki to quit and blocks until its threads have exited.
 * Safe to call even if the session never connected.
 */
void session_fini(void);

/**
 * @brief Send a controller state snapshot to the PS5.
 *
 * No-op if not currently connected.
 */
void session_send_controller_state(const ChiakiControllerState* state);

/**
 * @brief Return true while the session is connected.
 */
bool session_is_connected(void);

/**
 * @brief Semaphore given by the session event callback on both CONNECTED and
 * QUIT events.  The main loop polls this to react to connection state changes
 * without busy-waiting.
 */
extern struct k_sem session_event_sem;

#endif  // SESSION_H
```

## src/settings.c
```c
// Copyright (c) 2026 Jacek Fedorynski
// SPDX-License-Identifier: MIT

#include "settings.h"

#include <errno.h>
#include <stdlib.h>
#include <string.h>
#include <zephyr/kernel.h>
#include <zephyr/logging/log.h>
#include <zephyr/settings/settings.h>

LOG_MODULE_REGISTER(settings, LOG_LEVEL_INF);

static ChiakiRegisteredHost s_registered_host;
static bool s_has_registered_host = false;

static AppConfig s_app_config;
static bool s_has_app_config = false;

static int settings_set_cb(const char* name, size_t len, settings_read_cb read_cb, void* cb_arg) {
    const char* next;

    if (settings_name_steq(name, "host", &next) && !next) {
        if (len == sizeof(ChiakiRegisteredHost)) {
            int rc = read_cb(cb_arg, &s_registered_host, sizeof(s_registered_host));
            if (rc >= 0) {
                s_has_registered_host = true;
                LOG_INF("Loaded PS5 registration from settings NVS!");
                return 0;
            }
        } else {
            LOG_WRN("Size mismatch loading ps5/host: stored %zu, expected %zu",
                len, sizeof(ChiakiRegisteredHost));
        }
    } else if (settings_name_steq(name, "config", &next) && !next) {
        if (len == sizeof(AppConfig)) {
            int rc = read_cb(cb_arg, &s_app_config, sizeof(s_app_config));
            if (rc >= 0) {
                s_has_app_config = true;
                LOG_INF("Loaded AppConfig from settings NVS! SSID='%s', IP='%s'",
                    s_app_config.wifi_ssid, s_app_config.ps5_ip_str);
                return 0;
            }
        } else {
            LOG_WRN("Size mismatch loading ps5/config: stored %zu, expected %zu",
                len, sizeof(AppConfig));
        }
    }

    return -ENOENT;
}

SETTINGS_STATIC_HANDLER_DEFINE(app_settings, "ps5", NULL, settings_set_cb, NULL, NULL);

int app_settings_init(void) {
    memset(&s_app_config, 0, sizeof(s_app_config));

    int err = settings_subsys_init();
    if (err) {
        LOG_ERR("settings_subsys_init failed: %d", err);
        return err;
    }

    err = settings_load_subtree("ps5");
    if (err) {
        LOG_WRN("settings_load_subtree ps5 returned: %d", err);
    }

    if (s_has_app_config) {
        LOG_INF("Using user configuration from flash settings NVS.");
    } else {
        LOG_INF("No saved user configuration found in flash settings.");
    }

    if (s_has_registered_host) {
        LOG_INF("Found saved PS5 registration key in flash settings.");
    } else {
        LOG_INF("No saved PS5 registration key found in flash settings.");
    }

    return 0;
}

const AppConfig* settings_get_config(void) {
    return &s_app_config;
}

int settings_save_config(const AppConfig* config) {
    if (!config) {
        return -EINVAL;
    }

    memcpy(&s_app_config, config, sizeof(AppConfig));
    s_has_app_config = true;

    int rc = settings_save_one("ps5/config", config, sizeof(AppConfig));
    if (rc == 0) {
        LOG_INF("Successfully saved AppConfig to flash settings NVS!");
    } else {
        LOG_ERR("Failed to save AppConfig to flash settings: %d", rc);
    }

    return rc;
}

bool settings_has_registration(void) {
    return s_has_registered_host;
}

bool settings_has_account_id(void) {
    for (size_t i = 0; i < sizeof(s_app_config.account_id); i++) {
        if (s_app_config.account_id[i] != 0) {
            return true;
        }
    }
    return false;
}

void settings_get_account_id_reversed(uint8_t* out) {
    size_t size = sizeof(s_app_config.account_id);
    for (size_t i = 0; i < size; i++) {
        out[i] = s_app_config.account_id[size - 1 - i];
    }
}

const ChiakiRegisteredHost* settings_get_registered_host(void) {
    return s_has_registered_host ? &s_registered_host : NULL;
}

int settings_save_registration(const ChiakiRegisteredHost* host) {
    if (!host) {
        return -EINVAL;
    }

    memcpy(&s_registered_host, host, sizeof(ChiakiRegisteredHost));
    s_has_registered_host = true;

    int rc = settings_save_one("ps5/host", host, sizeof(ChiakiRegisteredHost));
    if (rc == 0) {
        LOG_INF("Successfully saved PS5 registration key and host info to flash settings!");
    } else {
        LOG_ERR("Failed to save PS5 registration key to flash settings: %d", rc);
    }

    return rc;
}

int settings_clear_registration(void) {
    s_has_registered_host = false;
    memset(&s_registered_host, 0, sizeof(s_registered_host));

    int rc = settings_delete("ps5/host");
    if (rc == 0) {
        LOG_INF("Deleted PS5 registration key from flash settings.");
    } else {
        LOG_WRN("Failed to delete PS5 registration key from flash settings: %d", rc);
    }

    return rc;
}
```

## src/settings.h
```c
// Copyright (c) 2026 Jacek Fedorynski
// SPDX-License-Identifier: MIT

#ifndef SETTINGS_H
#define SETTINGS_H

#include <chiaki/regist.h>
#include <stdbool.h>
#include <stdint.h>
#include <zephyr/toolchain.h>

#ifdef __cplusplus
extern "C" {
#endif

#define CONFIG_REPORT_VERSION 1
#define CONFIG_REPORT_SIZE 63
#define REPORT_ID_NET 1
#define REPORT_ID_PS5 2
#define REPORT_ID_REGISTER 3
#define REPORT_ID_STATUS 4
#define REPORT_ID_STATUS_FEATURE 5

typedef struct {
    char wifi_ssid[17];      // null-terminated string (max 16 chars)
    char wifi_password[33];  // null-terminated string (max 32 chars)
    uint8_t account_id[8];   // 8 raw bytes (PSN account ID)
    char ps5_ip_str[16];     // null-terminated IPv4 string "a.b.c.d"
} AppConfig;

struct __attribute__((packed)) app_config_report_net {
    uint8_t version;         // Offset 0: 1
    char wifi_ssid[16];      // Offset 1..16: SSID string
    char wifi_password[32];  // Offset 17..48: Password string
    uint8_t reserved[10];    // Offset 49..58: zeroes
    uint32_t crc32;          // Offset 59..62: little-endian CRC-32
};

struct __attribute__((packed)) app_config_report_ps5 {
    uint8_t version;        // Offset 0: 1
    uint8_t account_id[8];  // Offset 1..8: 8 raw bytes
    uint8_t ps5_ip[4];      // Offset 9..12: IPv4 bytes
    uint8_t reserved[46];   // Offset 13..58: zeroes
    uint32_t crc32;         // Offset 59..62: little-endian CRC-32
};

struct __attribute__((packed)) app_config_report_register {
    uint8_t version;       // Offset 0: 1
    uint32_t pin;          // Offset 1..4: uint32_t little-endian PIN
    uint8_t reserved[54];  // Offset 5..58: zeroes
    uint32_t crc32;        // Offset 59..62: little-endian CRC-32
};

BUILD_ASSERT(sizeof(struct app_config_report_net) == CONFIG_REPORT_SIZE, "app_config_report_net size mismatch");
BUILD_ASSERT(sizeof(struct app_config_report_ps5) == CONFIG_REPORT_SIZE, "app_config_report_ps5 size mismatch");
BUILD_ASSERT(sizeof(struct app_config_report_register) == CONFIG_REPORT_SIZE, "app_config_report_register size mismatch");

#define STATUS_FLAG_WIFI_CONNECTED (1 << 0)
#define STATUS_FLAG_HAS_REGISTRATION (1 << 1)
#define STATUS_FLAG_SESSION_ACTIVE (1 << 2)

// Pushed by the device as Input Report 4 whenever its status changes, and
// readable on demand as Feature Report 5 (e.g. to seed a freshly opened
// config page with the current status). A separate report ID from the Input
// push, rather than reusing ID 4 for both types, just to keep GET_REPORT
// (Feature) and the async push (Input) unambiguous.
// No CRC.
struct __attribute__((packed)) app_status_report {
    uint8_t version;   // Offset 0: 1
    uint8_t flags;     // Offset 1: STATUS_FLAG_* bitmask
    char message[61];  // Offset 2..62: null-terminated human-readable status
};

BUILD_ASSERT(sizeof(struct app_status_report) == CONFIG_REPORT_SIZE, "app_status_report size mismatch");

/**
 * Initialize the Zephyr settings subsystem and load saved PS5 host registration & user configuration.
 *
 * @return 0 on success, negative error code on failure.
 */
int app_settings_init(void);

/**
 * Get pointer to current AppConfig.
 */
const AppConfig* settings_get_config(void);

/**
 * Save AppConfig to flash NVS settings ("ps5/config").
 */
int settings_save_config(const AppConfig* config);

/**
 * Check if a valid PS5 registration key and host info are currently loaded.
 */
bool settings_has_registration(void);

/**
 * Check if a non-zero PSN account ID is currently configured.
 */
bool settings_has_account_id(void);

/**
 * Get the configured PSN account ID in the byte order chiaki expects
 * (reversed relative to how it's stored in AppConfig/the HID report).
 *
 * @param out Buffer of at least CHIAKI_PSN_ACCOUNT_ID_SIZE (8) bytes.
 */
void settings_get_account_id_reversed(uint8_t* out);

/**
 * Get pointer to the currently loaded registered host structure.
 * Returns NULL if no registration data is available.
 */
const ChiakiRegisteredHost* settings_get_registered_host(void);

/**
 * Save registered host structure to flash (NVS settings subsystem).
 *
 * @param host Pointer to registered host structure
 * @return 0 on success, negative error code on failure.
 */
int settings_save_registration(const ChiakiRegisteredHost* host);

/**
 * Discard and delete the stored PS5 registration key from flash.
 *
 * @return 0 on success, negative error code on failure.
 */
int settings_clear_registration(void);

#ifdef __cplusplus
}
#endif

#endif  // SETTINGS_H
```
